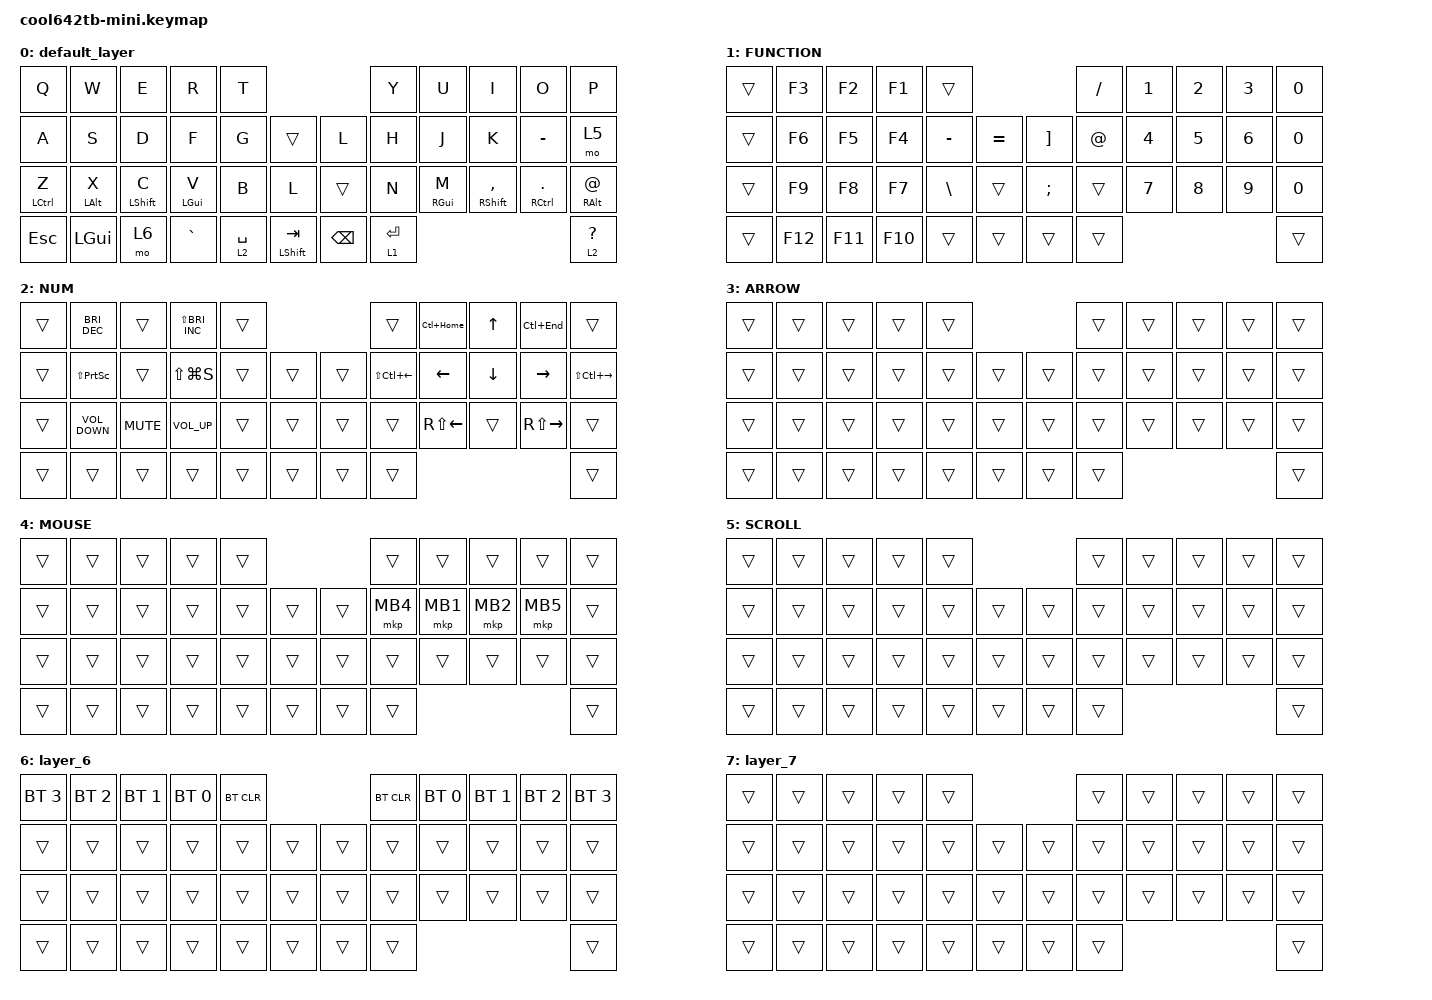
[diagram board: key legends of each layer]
#include <behaviors.dtsi>
#include <dt-bindings/zmk/bt.h>
#include <dt-bindings/zmk/keys.h>
#include <dt-bindings/zmk/pointing.h>

#define MOUSE 4
#define SCROLL 5
#define NUM 6
#define ZMK_POINTING_DEFAULT_SCRL_VAL 80

&mt {
    flavor = "balanced";
    quick-tap-ms = <0>;
};

/ {
    combos {
        compatible = "zmk,combos";

        shift_tab {
            bindings = <&mo 5>;
            key-positions = <12 13>;
        };

        lang {
            bindings = <&mo 5>;
            key-positions = <18 19>;
        };
    };

    behaviors {
        encoder_msc_down_up: encoder_msc_down_up {
            compatible = "zmk,behavior-sensor-rotate";
            label = "ENCODER_MSC_DOWN_UP";
            #sensor-binding-cells = <0>;
            bindings = <&msc SCRL_UP>, <&msc SCRL_DOWN>;

            tap-ms = <20>;
        };
    };

    keymap {
        compatible = "zmk,keymap";

        default_layer {
            bindings = <
&kp Q               &kp W           &kp E         &kp R           &kp T                                           &kp Y        &kp U       &kp I            &kp O             &kp P
&kp A               &kp S           &kp D         &kp F           &kp G        &trans              &kp L          &kp H        &kp J       &kp K            &kp MINUS         &mo 5
&mt LEFT_CONTROL Z  &mt LEFT_ALT X  &mt LSHIFT C  &mt LEFT_GUI V  &kp B        &kp L               &trans         &kp N        &mt RGUI M  &mt RSHFT COMMA  &mt RCTRL PERIOD  &mt RALT AT
&kp ESC             &kp LEFT_GUI    &mo 6         &kp GRAVE       &lt 2 SPACE  &mt LSHIFT TAB      &kp BACKSPACE  &lt 1 ENTER                                                 &lt 2 QUESTION
            >;
        };

        FUNCTION {
            bindings = <
&trans  &kp F3   &kp F2   &kp F1   &trans                                       &kp SLASH  &kp NUMBER_1  &kp NUMBER_2  &kp NUMBER_3  &kp N0
&trans  &kp F6   &kp F5   &kp F4   &kp MINUS      &kp EQUAL      &kp RBKT       &kp AT     &kp NUMBER_4  &kp N5        &kp NUMBER_6  &kp N0
&trans  &kp F9   &kp F8   &kp F7   &kp BACKSLASH  &trans         &kp SEMICOLON  &trans     &kp N7        &kp N8        &kp N9        &kp N0
&trans  &kp F12  &kp F11  &kp F10  &trans         &trans         &trans         &trans                                               &trans
            >;
        };

        NUM {
            bindings = <
&trans  &kp C_BRI_DEC      &trans      &kp LS(C_BRI_INC)  &trans                      &trans                  &kp LC(HOME)        &kp UP_ARROW    &kp LC(END)          &trans
&trans  &kp LS(PSCRN)      &trans      &kp LS(LG(S))      &trans  &trans      &trans  &kp LS(LC(LEFT_ARROW))  &kp LEFT_ARROW      &kp DOWN_ARROW  &kp RIGHT_ARROW      &kp LS(LC(RIGHT_ARROW))
&trans  &kp K_VOLUME_DOWN  &kp C_MUTE  &kp C_VOLUME_UP    &trans  &trans      &trans  &trans                  &kp RS(LEFT_ARROW)  &trans          &kp RS(RIGHT_ARROW)  &trans
&trans  &trans             &trans      &trans             &trans  &trans      &trans  &trans                                                                           &trans
            >;
        };

        ARROW {
            bindings = <
&trans  &trans  &trans  &trans  &trans                      &trans  &trans  &trans  &trans  &trans
&trans  &trans  &trans  &trans  &trans  &trans      &trans  &trans  &trans  &trans  &trans  &trans
&trans  &trans  &trans  &trans  &trans  &trans      &trans  &trans  &trans  &trans  &trans  &trans
&trans  &trans  &trans  &trans  &trans  &trans      &trans  &trans                          &trans
            >;
        };

        MOUSE {
            bindings = <
&trans  &trans  &trans  &trans  &trans                      &trans    &trans    &trans    &trans    &trans
&trans  &trans  &trans  &trans  &trans  &trans      &trans  &mkp MB4  &mkp MB1  &mkp MB2  &mkp MB5  &trans
&trans  &trans  &trans  &trans  &trans  &trans      &trans  &trans    &trans    &trans    &trans    &trans
&trans  &trans  &trans  &trans  &trans  &trans      &trans  &trans                                  &trans
            >;
        };

        SCROLL {
            bindings = <
&trans  &trans  &trans  &trans  &trans                      &trans  &trans  &trans  &trans  &trans
&trans  &trans  &trans  &trans  &trans  &trans      &trans  &trans  &trans  &trans  &trans  &trans
&trans  &trans  &trans  &trans  &trans  &trans      &trans  &trans  &trans  &trans  &trans  &trans
&trans  &trans  &trans  &trans  &trans  &trans      &trans  &trans                          &trans
            >;
        };

        layer_6 {
            bindings = <
&bt BT_SEL 3  &bt BT_SEL 2  &bt BT_SEL 1  &bt BT_SEL 0  &bt BT_CLR                      &bt BT_CLR  &bt BT_SEL 0  &bt BT_SEL 1  &bt BT_SEL 2  &bt BT_SEL 3
&trans        &trans        &trans        &trans        &trans      &trans      &trans  &trans      &trans        &trans        &trans        &trans
&trans        &trans        &trans        &trans        &trans      &trans      &trans  &trans      &trans        &trans        &trans        &trans
&trans        &trans        &trans        &trans        &trans      &trans      &trans  &trans                                                &trans
            >;
        };

        layer_7 {
            bindings = <
&trans  &trans  &trans  &trans  &trans                      &trans  &trans  &trans  &trans  &trans
&trans  &trans  &trans  &trans  &trans  &trans      &trans  &trans  &trans  &trans  &trans  &trans
&trans  &trans  &trans  &trans  &trans  &trans      &trans  &trans  &trans  &trans  &trans  &trans
&trans  &trans  &trans  &trans  &trans  &trans      &trans  &trans                          &trans
            >;
        };
    };
};
